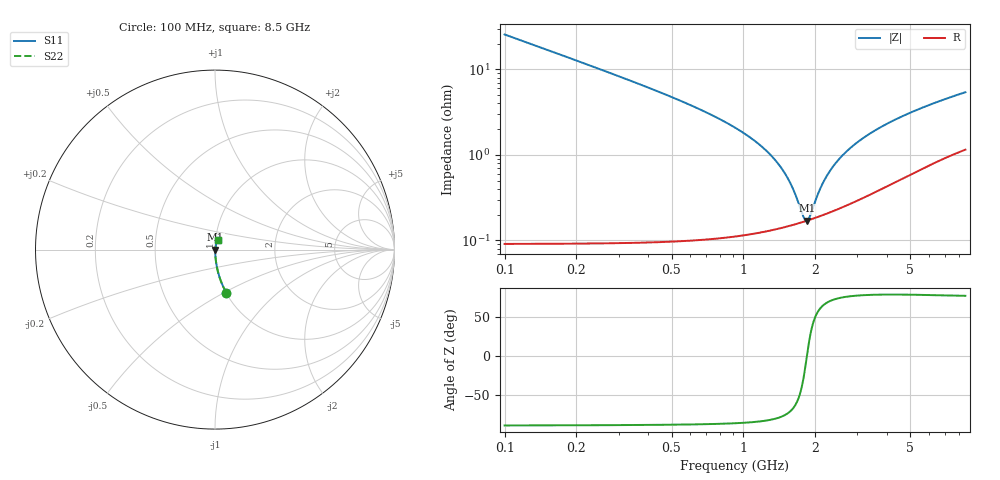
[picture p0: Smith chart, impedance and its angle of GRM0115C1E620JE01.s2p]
!Murata Part Number: GRM0115C1E620JE01
!These Parameters are Measured in Series Mode Connection
!Data Generated on Mar 30, 2021
!  o--ll--o
!Port1  Port2
!  o------o
!Operation Temp=25[degC], DC Bias Voltage=0[V]
!Freq. Start=100[MHz] Stop=9[GHz] 401[Steps]
# Hz S RI R 50
!Freq.(Hz) S11(Real) S11(Imag) S21(Real) S21(Imag) S12(Real) S12(Imag) S22(Real) S22(Imag)
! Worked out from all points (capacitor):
!   401 points, 100 MHz to 8.5 GHz, reference 50 ohm
!   read as one part in series: C = 62 pF near 142 MHz
!   lowest |Z| = 170 mohm at 1.843 GHz (marker M1)
!   series resonance near 1.844 GHz, so ESL is about 120 pH
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1e8  0.0622 -0.2398  0.9378 0.2398  0.9378 0.2398  0.0622 -0.2398
2.47e8  0.0112 -0.1008  0.9888 0.1008  0.9888 0.1008  0.0112 -0.1008
3.31e8  0.00652 -0.0745  0.9935 0.0745  0.9935 0.0745  0.00652 -0.0745
4.36e8  0.00402 -0.0553  0.996 0.0553  0.996 0.0553  0.00402 -0.0553
6.46e8  0.00221 -0.0347  0.9978 0.0347  0.9978 0.0347  0.00221 -0.0347
1.234e9  0.0014 -0.0114  0.9986 0.0114  0.9986 0.0114  0.0014 -0.0114
1.381e9  0.00142 -0.0081  0.9986 0.0081  0.9986 0.0081  0.00142 -0.0081
1.507e9  0.00147 -0.00561  0.9985 0.00561  0.9985 0.00561  0.00147 -0.00561
1.612e9  0.00153 -0.00372  0.9985 0.00372  0.9985 0.00372  0.00153 -0.00372
1.78e9  0.00165 -0.000973  0.9984 0.000973  0.9984 0.000973  0.00165 -0.000973
1.843e9  0.0017 -1.62e-05  0.9983 1.62e-05  0.9983 1.62e-05  0.0017 -1.62e-05
1.906e9  0.00175 0.000907  0.9982 -0.000907  0.9982 -0.000907  0.00175 0.000907
2.032e9  0.00187 0.00266  0.9981 -0.00266  0.9981 -0.00266  0.00187 0.00266
2.116e9  0.00195 0.00378  0.998 -0.00378  0.998 -0.00378  0.00195 0.00378
2.284e9  0.00214 0.00589  0.9979 -0.00589  0.9979 -0.00589  0.00214 0.00589
2.557e9  0.00247 0.00905  0.9975 -0.00905  0.9975 -0.00905  0.00247 0.00905
2.914e9  0.00297 0.0128  0.997 -0.0128  0.997 -0.0128  0.00297 0.0128
3.502e9  0.0039 0.0183  0.9961 -0.0183  0.9961 -0.0183  0.0039 0.0183
4.3e9  0.00536 0.025  0.9946 -0.025  0.9946 -0.025  0.00536 0.025
5.707e9  0.00823 0.0351  0.9918 -0.0351  0.9918 -0.0351  0.00823 0.0351
7.114e9  0.0112 0.0438  0.9888 -0.0438  0.9888 -0.0438  0.0112 0.0438
8.5e9  0.0141 0.0515  0.9859 -0.0515  0.9859 -0.0515  0.0141 0.0515
